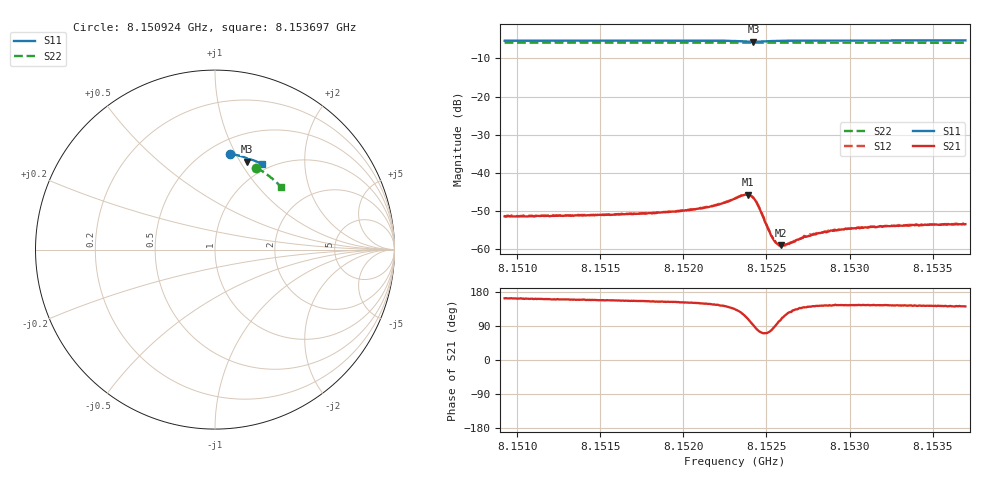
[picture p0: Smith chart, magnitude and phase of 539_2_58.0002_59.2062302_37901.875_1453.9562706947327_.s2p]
#  HZ  S  RI  R  50.00
! Rohde & Schwarz Vector Network Analyzer
! Rohde-Schwarz,ZNB20-2Port,1311601062101988,3.16
! Created: UTC 3/21/2024, 1:14:25 AM
! freq[Hz]  re:S11  im:S11  re:S21  im:S21  re:S12  im:S12  re:S22  im:S22
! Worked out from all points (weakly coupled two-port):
!   401 points, 8.150924 GHz to 8.153697 GHz, reference 50 ohm
!   highest |S21| = -45.68 dB at 8.152387 GHz (marker M1); lowest = -59.0 dB at 8.152588 GHz (marker M2)
!   lowest |S11| = -5.6 dB at 8.152422 GHz (marker M3), VSWR 3.18, Z = 39.8 + j53.6 ohm
!   |S11| at or under -10 dB: nowhere
!   |S22| runs from -5.9 to -5.8 dB; largest |S21 - S12| = 0.00013
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8.1509242e9  0.0857 0.5324  -0.00257 0.000801  -0.00258 0.000844  0.23 0.456
8.1513887e9  0.118 0.5269  -0.00259 0.000988  -0.00261 0.00104  0.2557 0.4414
8.1518532e9  0.1503 0.5192  -0.00273 0.00133  -0.00273 0.00138  0.281 0.4251
8.1521167e9  0.1696 0.5127  -0.00297 0.00176  -0.00298 0.00183  0.2946 0.4152
8.1522345e9  0.179 0.5079  -0.0032 0.00238  -0.0032 0.00244  0.3007 0.4106
8.1523108e9  0.1851 0.5019  -0.00318 0.00332  -0.0032 0.0034  0.3045 0.4074
8.1523593e9  0.1865 0.4954  -0.0026 0.00437  -0.00259 0.00444  0.3066 0.4053
8.152387e9  0.1847 0.4915  -0.0017 0.00491  -0.00169 0.00496  0.3079 0.4043
8.1524217e9  0.1791 0.4902  -9e-05 0.00469  -3.08e-05 0.00474  0.3094 0.4029
8.1524356e9  0.1769 0.4916  0.000418 0.00426  0.000482 0.0043  0.31 0.4025
8.1524564e9  0.1755 0.4947  0.000866 0.00338  0.000885 0.00342  0.3108 0.4017
8.1525188e9  0.1798 0.5021  0.000445 0.00164  0.000489 0.00163  0.314 0.3996
8.1525396e9  0.1821 0.5032  0.000158 0.00138  0.000212 0.00137  0.3152 0.3988
8.1525673e9  0.1853 0.5039  -0.000152 0.00116  -0.000117 0.00117  0.3165 0.3977
8.1525881e9  0.1875 0.5041  -0.000331 0.00108  -0.000305 0.0011  0.3178 0.3969
8.1526158e9  0.1903 0.504  -0.000563 0.00101  -0.000529 0.000988  0.3191 0.3957
8.1527198e9  0.1993 0.5023  -0.00106 0.000925  -0.00106 0.000957  0.3243 0.3915
8.1527753e9  0.2036 0.5012  -0.00122 0.000958  -0.00117 0.000997  0.3268 0.3892
8.1529209e9  0.2141 0.4975  -0.00145 0.00102  -0.00143 0.00105  0.3338 0.383
8.1530595e9  0.2238 0.4938  -0.00155 0.00107  -0.0016 0.0011  0.3402 0.3769
8.1532398e9  0.2355 0.4888  -0.00163 0.00118  -0.00162 0.00116  0.3485 0.3689
8.1536973e9  0.2645 0.4747  -0.00167 0.00133  -0.00167 0.00134  0.3686 0.3481
